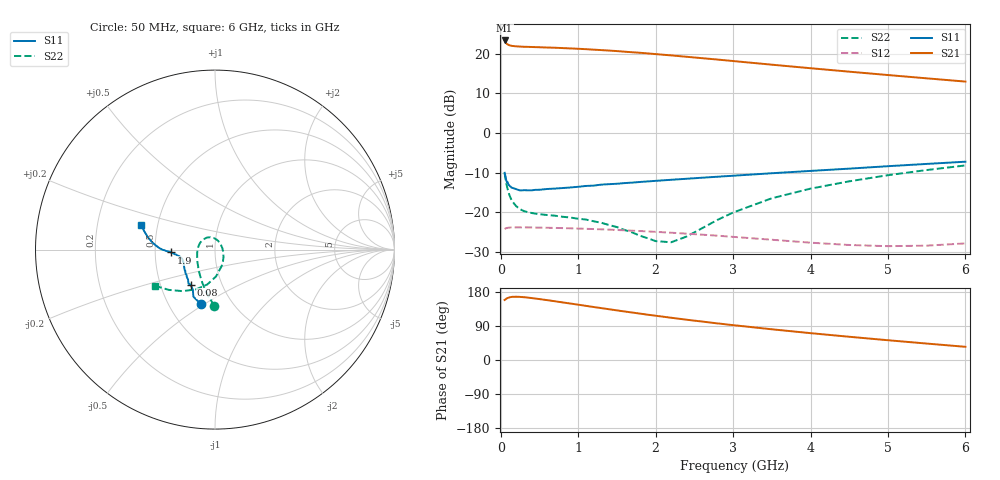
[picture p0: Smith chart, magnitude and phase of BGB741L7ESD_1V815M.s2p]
!  Infineon Technologies AG
!  BGB741L7ESD
!  Vce = 1.8V, Ic = 15.0mA
!  DATUM: 30.06.2009 10:08:15
# GHz  S  MA  R  50
!f  S11  S21  S12  S22
!GHz  Mag  Ang  Mag  Ang  Mag  Ang  Mag  Ang
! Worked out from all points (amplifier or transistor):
!   44 points, 50 MHz to 6 GHz, reference 50 ohm
!   highest |S21| = 23.4 dB at 50 MHz (marker M1)
!   |S21| within 3 dB of that: start of sweep to 1.717 GHz
!   unconditionally stable (mu >= 1): 203 MHz to end of sweep
!   at 120 MHz: K = 0.97, MSG = 23.0 dB, |S12| = -23.8 dB
!   at 1 GHz: K = 1.04, MAG = 21.5 dB, |S12| = -24.1 dB
!   at 6 GHz: K = 1.88, MAG = 15.0 dB, |S12| = -27.8 dB
!   S11 on the Smith chart (normalised r, x): 50 MHz: 0.72, -0.49; 80 MHz: 0.71, -0.30; 1.9 GHz: 0.61, -0.02; 6 GHz: 0.40, +0.14
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0.05  0.315 -104.1  14.73 158.4  0.06155 17.8  0.3132 -90.7
0.06  0.2884 -114.7  14.06 159.8  0.06254 14.9  0.2691 -96.8
0.07  0.256 -118.8  13.6 161.5  0.06299 12.6  0.2373 -102.5
0.08  0.2387 -124.5  13.31 162.8  0.06347 11.2  0.2133 -107.2
0.11  0.2185 -136.1  12.83 165.1  0.06409 7.7  0.1674 -119.8
0.15  0.2038 -145.6  12.55 166.7  0.06432 5.4  0.1373 -132.6
0.2  0.1958 -152.0  12.42 166.9  0.06446 3.4  0.1193 -145.2
0.3  0.1901 -159.4  12.26 165.7  0.06448 1.3  0.1035 -163.7
0.7  0.1993 -168.5  11.91 155.0  0.06357 -2.7  0.09062 154.2
1.1  0.215 -171.9  11.43 142.9  0.06197 -5.1  0.08101 124.7
1.5  0.2293 -174.3  10.82 130.9  0.05987 -6.9  0.06513 96.3
1.9  0.2454 -176.3  10.11 119.5  0.05741 -8.2  0.047 56.0
2.2  0.2573 -177.6  9.548 111.6  0.05528 -8.9  0.04187 10.0
2.4  0.2651 -178.0  9.167 106.3  0.05378 -9.1  0.04948 -20.1
2.8  0.2812 -179.4  8.455 96.6  0.05069 -9.1  0.08035 -56.7
3  0.2894 -179.5  8.1 92.0  0.049 -8.7  0.09933 -68.1
3.5  0.3111 178.3  7.287 81.0  0.04507 -6.8  0.1503 -88.0
4  0.3328 175.8  6.576 70.9  0.0414 -3.0  0.1988 -102.5
4.5  0.3556 172.9  5.946 61.3  0.03871 2.8  0.246 -115.7
5  0.3817 169.3  5.393 52.2  0.03739 10.3  0.2938 -128.0
5.5  0.4078 165.4  4.901 43.4  0.03796 18.7  0.3415 -138.9
6  0.435 161.3  4.46 34.8  0.04054 26.2  0.3902 -148.9
